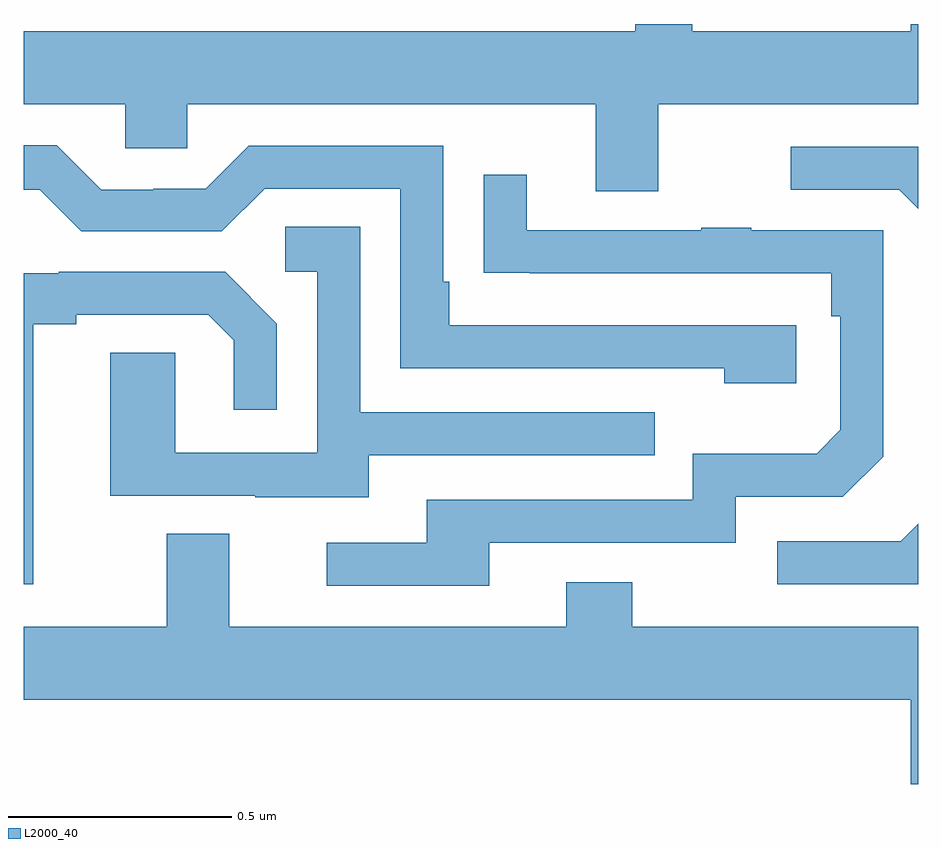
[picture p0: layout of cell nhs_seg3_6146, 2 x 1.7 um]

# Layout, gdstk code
import gdstk
lib = gdstk.Library(unit=1e-6, precision=1e-09)
def P(c, l, *ps):  # polygons
    for p in ps: c.add(gdstk.Polygon(p, *l))
L2000_40 = (2000, 40)

nhs_seg3_6146 = lib.new_cell('nhs_seg3_6146')
P(nhs_seg3_6146, L2000_40, [(188.419,730.22),(189,730.22),(189,730.4),(188.984,730.4),(188.984,730.384),(188.495,730.384),(188.495,730.4),(188.367,730.4),(188.367,730.384),(187,730.384),(187,730.22),(187.227,730.22),(187.227,730.122),(187.365,730.122),(187.365,730.22),(188.279,730.22),(188.279,730.026),(188.419,730.026)],
  [(188.728,729.726),(187.951,729.726),(187.951,729.823),(187.938,729.823),(187.938,730.128),(187.503,730.128),(187.407,730.032),(187.289,730.032),(187.289,730.029),(187.173,730.029),(187.073,730.129),(187,730.129),(187,730.029),(187.035,730.029),(187.128,729.936),(187.443,729.936),(187.539,730.032),(187.842,730.032),(187.842,729.63),(188.567,729.63),(188.567,729.596),(188.728,729.596)],
  [(189,730.125),(188.715,730.125),(188.715,730.029),(188.958,730.029),(189,729.987)],
  [(188.041,729.24),(188.592,729.24),(188.592,729.342),(188.832,729.342),(188.922,729.432),(188.922,729.939),(188.627,729.939),(188.627,729.944),(188.515,729.944),(188.515,729.939),(188.125,729.939),(188.125,730.063),(188.029,730.063),(188.029,729.844),(188.131,729.844),(188.131,729.843),(188.806,729.843),(188.806,729.746),(188.826,729.746),(188.826,729.492),(188.773,729.439),(188.496,729.439),(188.496,729.336),(187.901,729.336),(187.901,729.24),(187.677,729.24),(187.677,729.144),(188.041,729.144)],
  [(187.771,729.435),(188.411,729.435),(188.411,729.531),(187.752,729.531),(187.752,729.947),(187.584,729.947),(187.584,729.846),(187.656,729.846),(187.656,729.441),(187.338,729.441),(187.338,729.665),(187.193,729.665),(187.193,729.345),(187.517,729.345),(187.517,729.341),(187.771,729.341)],
  [(187.021,729.728),(187.117,729.728),(187.117,729.75),(187.412,729.75),(187.469,729.693),(187.469,729.537),(187.566,729.537),(187.566,729.73),(187.45,729.846),(187.078,729.846),(187.078,729.843),(187,729.843),(187,729.147),(187.021,729.147)],
  [(189,729.282),(188.961,729.243),(188.685,729.243),(188.685,729.147),(189,729.147)],
  [(189,729.052),(188.361,729.052),(188.361,729.151),(188.213,729.151),(188.213,729.052),(187.459,729.052),(187.459,729.26),(187.319,729.26),(187.319,729.052),(187,729.052),(187,728.888),(188.984,728.888),(188.984,728.7),(189,728.7)])

lib.write_gds('nhs_seg3_6146.gds')
